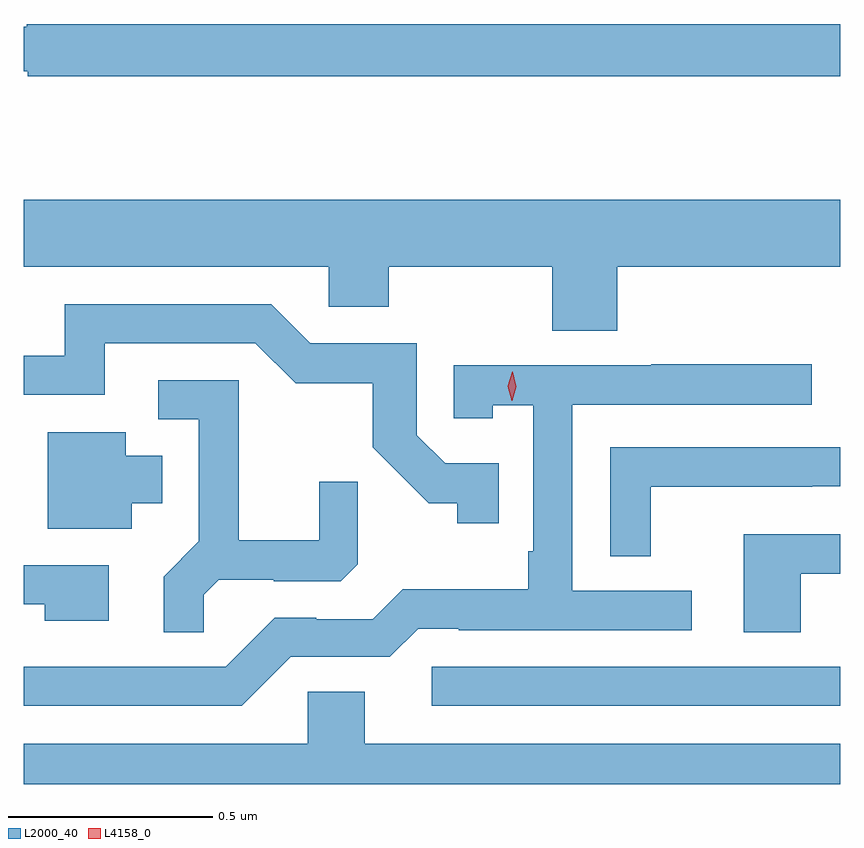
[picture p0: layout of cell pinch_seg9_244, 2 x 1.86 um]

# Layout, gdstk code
import gdstk
lib = gdstk.Library(unit=1e-6, precision=1e-09)
def R(c, l, rs):  # rectangles x0, y0, x1, y1
    for r in rs: c.add(gdstk.rectangle(r[:2], r[2:], *l))
def P(c, l, *ps):  # polygons
    for p in ps: c.add(gdstk.Polygon(p, *l))
L2000_40 = (2000, 40)
L4158_0 = (4158, 0)

pinch_seg9_244 = lib.new_cell('pinch_seg9_244')
R(pinch_seg9_244, L2000_40, [(418.005,1236.636,419.006,1236.732)])
P(pinch_seg9_244, L2000_40, [(419.006,1238.306),(417.014,1238.306),(417.014,1238.299),(417.006,1238.299),(417.006,1238.19),(417.016,1238.19),(417.016,1238.178),(419.006,1238.178)],
  [(418.46,1237.712),(419.006,1237.712),(419.006,1237.876),(417.006,1237.876),(417.006,1237.712),(417.753,1237.712),(417.753,1237.614),(417.9,1237.614),(417.9,1237.712),(418.3,1237.712),(418.3,1237.555),(418.46,1237.555)],
  [(418.169,1237.23),(418.038,1237.23),(417.969,1237.299),(417.969,1237.524),(417.708,1237.524),(417.612,1237.62),(417.107,1237.62),(417.107,1237.494),(417.006,1237.494),(417.006,1237.398),(417.205,1237.398),(417.205,1237.524),(417.573,1237.524),(417.672,1237.426),(417.861,1237.426),(417.861,1237.27),(417.998,1237.133),(418.068,1237.133),(418.068,1237.083),(418.169,1237.083)],
  [(417.66,1236.756),(417.903,1236.756),(417.972,1236.825),(418.072,1236.825),(418.072,1236.822),(418.642,1236.822),(418.642,1236.918),(418.35,1236.918),(418.35,1237.374),(418.936,1237.374),(418.936,1237.473),(418.543,1237.473),(418.543,1237.47),(418.059,1237.47),(418.059,1237.341),(418.155,1237.341),(418.155,1237.373),(418.254,1237.373),(418.254,1237.015),(418.242,1237.015),(418.242,1236.922),(417.934,1236.922),(417.861,1236.849),(417.722,1236.849),(417.722,1236.852),(417.621,1236.852),(417.501,1236.732),(417.006,1236.732),(417.006,1236.636),(417.54,1236.636)],
  [(417.447,1236.908),(417.484,1236.945),(417.618,1236.945),(417.618,1236.942),(417.783,1236.942),(417.824,1236.983),(417.824,1237.185),(417.73,1237.185),(417.73,1237.042),(417.533,1237.042),(417.533,1237.434),(417.336,1237.434),(417.336,1237.338),(417.435,1237.338),(417.435,1237.039),(417.349,1236.953),(417.349,1236.817),(417.447,1236.817)],
  [(417.271,1237.133),(417.346,1237.133),(417.346,1237.249),(417.256,1237.249),(417.256,1237.306),(417.065,1237.306),(417.065,1237.07),(417.271,1237.07)],
  [(418.542,1237.173),(418.937,1237.173),(418.937,1237.174),(419.006,1237.174),(419.006,1237.269),(418.443,1237.269),(418.443,1237.003),(418.542,1237.003)],
  [(418.909,1236.96),(419.006,1236.96),(419.006,1237.056),(418.769,1237.056),(418.769,1236.817),(418.909,1236.817)],
  [(417.214,1236.981),(417.006,1236.981),(417.006,1236.885),(417.058,1236.885),(417.058,1236.845),(417.214,1236.845)],
  [(419.006,1236.544),(417.841,1236.544),(417.841,1236.671),(417.702,1236.671),(417.702,1236.544),(417.006,1236.544),(417.006,1236.445),(419.006,1236.445)])
P(pinch_seg9_244, L4158_0, [(418.201,1237.383),(418.201,1237.383),(418.192,1237.419),(418.203,1237.454),(418.203,1237.455),(418.204,1237.454),(418.212,1237.418),(418.202,1237.383)])

lib.write_gds('pinch_seg9_244.gds')
